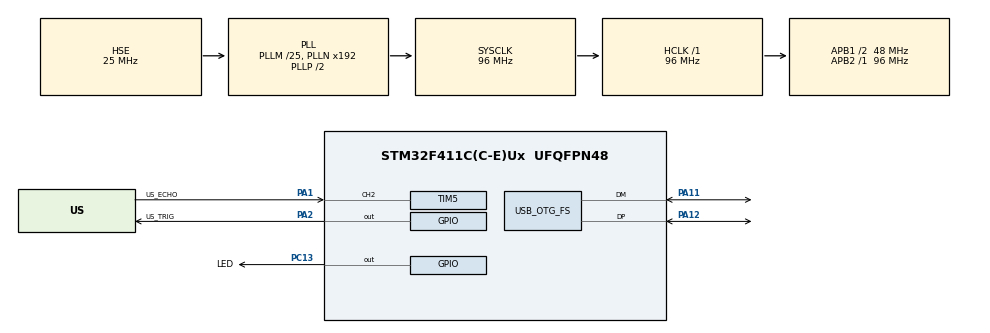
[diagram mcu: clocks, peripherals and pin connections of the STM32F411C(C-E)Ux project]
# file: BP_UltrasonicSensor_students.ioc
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Dma.Request0=TIM5_CH2
Dma.TIM5_CH2.0.Direction=DMA_PERIPH_TO_MEMORY
Dma.TIM5_CH2.0.FIFOMode=DMA_FIFOMODE_DISABLE
Dma.TIM5_CH2.0.Instance=DMA1_Stream4
Dma.TIM5_CH2.0.MemDataAlignment=DMA_MDATAALIGN_WORD
Dma.TIM5_CH2.0.MemInc=DMA_MINC_ENABLE
Dma.TIM5_CH2.0.Mode=DMA_NORMAL
Dma.TIM5_CH2.0.PeriphDataAlignment=DMA_PDATAALIGN_WORD
Dma.TIM5_CH2.0.PeriphInc=DMA_PINC_DISABLE
Dma.TIM5_CH2.0.Priority=DMA_PRIORITY_LOW
Mcu.Family=STM32F4
Mcu.Name=STM32F411C(C-E)Ux
Mcu.Package=UFQFPN48
Mcu.UserConstants=PSC_5,96-1;ARR_1,500-1;PSC_11,96-1;PSC_4,1-1;ARR_11,1000-1;ARR_4,9600-1;PSC_1,96-1;PSC_2,96-1
NVIC.DMA1_Stream4_IRQn=true\:0\:0\:false\:false\:true\:false\:true\:true
NVIC.OTG_FS_IRQn=true\:0\:0\:false\:false\:true\:false\:true\:true
NVIC.PriorityGroup=NVIC_PRIORITYGROUP_4
NVIC.TIM1_TRG_COM_TIM11_IRQn=true\:0\:0\:false\:false\:true\:true\:true\:true
NVIC.TIM1_UP_TIM10_IRQn=true\:0\:0\:false\:false\:true\:true\:true\:true
NVIC.TIM5_IRQn=true\:0\:0\:false\:false\:true\:true\:true\:true
PA1.GPIO_Label=US_ECHO
PA1.Signal=S_TIM5_CH2
PA11.Mode=Device_Only
PA11.Signal=USB_OTG_FS_DM
PA12.Mode=Device_Only
PA12.Signal=USB_OTG_FS_DP
PA2.GPIO_Label=US_TRIG
PA2.Signal=GPIO_Output
PC13-ANTI_TAMP.GPIO_Label=LED
PC13-ANTI_TAMP.PinState=GPIO_PIN_SET
PC13-ANTI_TAMP.Signal=GPIO_Output
PH0\ -\ OSC_IN.Mode=HSE-External-Oscillator
PH0\ -\ OSC_IN.Signal=RCC_OSC_IN
PH1\ -\ OSC_OUT.Mode=HSE-External-Oscillator
PH1\ -\ OSC_OUT.Signal=RCC_OSC_OUT
ProjectManager.HeapSize=0x200
ProjectManager.StackSize=0x400
ProjectManager.TargetToolchain=STM32CubeIDE
RCC.48MHZClocksFreq_Value=48000000
RCC.AHBFreq_Value=96000000
RCC.APB1CLKDivider=RCC_HCLK_DIV2
RCC.APB1Freq_Value=48000000
RCC.APB1TimFreq_Value=96000000
RCC.APB2Freq_Value=96000000
RCC.APB2TimFreq_Value=96000000
RCC.CortexFreq_Value=96000000
RCC.HCLKFreq_Value=96000000
RCC.HSE_VALUE=25000000
RCC.HSI_VALUE=16000000
RCC.LSE_VALUE=32768
RCC.PLLM=25
RCC.SYSCLKFreq_VALUE=96000000
RCC.SYSCLKSource=RCC_SYSCLKSOURCE_PLLCLK
RCC.VCOOutputFreq_Value=192000000
SH.S_TIM5_CH2.0=TIM5_CH2,Input_Capture2_from_TI2
TIM1.Period=ARR_1
TIM1.Prescaler=PSC_1
TIM11.Period=ARR_11
TIM11.Prescaler=PSC_11
TIM2.Prescaler=PSC_2
TIM5.Channel-Input_Capture2_from_TI2=TIM_CHANNEL_2
TIM5.ICPolarity_CH2=TIM_INPUTCHANNELPOLARITY_BOTHEDGE
TIM5.Prescaler=PSC_5
USB_DEVICE.CLASS_NAME_FS=CDC
USB_DEVICE.VirtualMode=Cdc
USB_DEVICE.VirtualModeFS=Cdc_FS
USB_OTG_FS.VirtualMode=Device_Only
VP_TIM11_VS_ClockSourceINT.Mode=Enable_Timer
VP_TIM1_VS_ClockSourceINT.Mode=Internal
VP_TIM2_VS_ClockSourceINT.Mode=Internal
VP_TIM5_VS_ClockSourceINT.Mode=Internal
VP_USB_DEVICE_VS_USB_DEVICE_CDC_FS.Mode=CDC_FS
board=custom

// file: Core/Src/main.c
/* USER CODE BEGIN Header */
/**
  ******************************************************************************
  * @file           : main.c
  * @brief          : Main program body
  ******************************************************************************
  * @attention
  *
  * Copyright (c) 2025 STMicroelectronics.
  * All rights reserved.
  *
  * This software is licensed under terms that can be found in the LICENSE file
  * in the root directory of this software component.
  * If no LICENSE file comes with this software, it is provided AS-IS.
  *
  ******************************************************************************
  */
/* USER CODE END Header */
#include "main.h"
#include "dma.h"
#include "tim.h"
#include "usb_device.h"
#include "gpio.h"

/* USER CODE BEGIN Includes */
#include "usbd_cdc_if.h"
#include <string.h>
#include <stdio.h>

#include "ultrasonic_sensor.h"
/* USER CODE END Includes */

/* USER CODE BEGIN PD */
#define USB_RX_BUFFER_SIZE 256
/* USER CODE END PD */

/* USER CODE BEGIN PV */
//Timer loop
volatile uint16_t cpt_led_loop = 0;
volatile uint8_t led_loop = 0;

volatile uint16_t cpt_print_loop = 0;
volatile uint8_t print_loop = 0;

volatile uint16_t cpt_us_loop = 0;
volatile uint8_t us_loop = 0;

//USB
uint32_t usb_rx_len = 0;	//Size of received packet over USB
uint8_t usb_rx_buffer[USB_RX_BUFFER_SIZE];	//Buffer to store the received packet over USB

//Ultrasonic sensor
extern uint8_t us_data_ready;
extern uint32_t us_dma_buffer[2];
extern float us_dist;
extern uint32_t us_pulse_width;

/* USER CODE END PV */

void SystemClock_Config(void);
/* USER CODE BEGIN PFP */
void parse_usb_data();

/* USER CODE END PFP */

/* USER CODE BEGIN 0 */
int _write(int file, char *ptr, int len) {
    CDC_Transmit_FS((uint8_t*)ptr, len);
    return len;
}
/* USER CODE END 0 */

int main(void)
{

  /* MCU Configuration--------------------------------------------------------*/

  /* Reset of all peripherals, Initializes the Flash interface and the Systick. */
  HAL_Init();

  /* Configure the system clock */
  SystemClock_Config();

  /* Initialize all configured peripherals */
  MX_GPIO_Init();
  MX_DMA_Init();
  MX_USB_DEVICE_Init();
  MX_TIM11_Init();
  MX_TIM1_Init();
  MX_TIM5_Init();
  MX_TIM2_Init();
  /* USER CODE BEGIN 2 */
  //Start Timers
  HAL_TIM_Base_Start_IT(&htim11);	//Start Timer with IT to call HAL_TIM_PeriodElapsedCallback function
  HAL_TIM_Base_Start(&htim2);	//Start Timer 2 to use the delay_us function

  //Make sure the US trigger pin is at LOW
  HAL_GPIO_WritePin(US_TRIG_GPIO_Port, US_TRIG_Pin, GPIO_PIN_RESET);

  //Start Input Capture for US
  HAL_TIM_IC_Start_DMA(&htim5, TIM_CHANNEL_2, us_dma_buffer, 2);
  /* USER CODE END 2 */

  /* Infinite loop */
  /* USER CODE BEGIN WHILE */
  while (1)
  {
	  if(print_loop){
//		  printf("Propagation time: %lu us\n", us_pulse_width);
		  printf("Dist: %.1f cm\n", us_dist);
		  print_loop = 0;
	  }

	  if(led_loop){
		  HAL_GPIO_TogglePin(LED_GPIO_Port, LED_Pin);
		  led_loop = 0;
	  }

	  if(us_loop){
		  us_enable_trigger();
		  us_loop = 0;
	  }

	  if(us_data_ready){
		  us_compute_distance();
		  HAL_TIM_IC_Start_DMA(&htim5, TIM_CHANNEL_2, us_dma_buffer, 2);	//Restart input-capture
		  us_data_ready = 0;
	  }
    /* USER CODE END WHILE */

  }
}

void SystemClock_Config(void)
{
  RCC_OscInitTypeDef RCC_OscInitStruct = {0};
  RCC_ClkInitTypeDef RCC_ClkInitStruct = {0};

  /** Configure the main internal regulator output voltage
  */
  __HAL_RCC_PWR_CLK_ENABLE();
  __HAL_PWR_VOLTAGESCALING_CONFIG(PWR_REGULATOR_VOLTAGE_SCALE1);

  /** Initializes the RCC Oscillators according to the specified parameters
  * in the RCC_OscInitTypeDef structure.
  */
  RCC_OscInitStruct.OscillatorType = RCC_OSCILLATORTYPE_HSE;
  RCC_OscInitStruct.HSEState = RCC_HSE_ON;
  RCC_OscInitStruct.PLL.PLLState = RCC_PLL_ON;
  RCC_OscInitStruct.PLL.PLLSource = RCC_PLLSOURCE_HSE;
  RCC_OscInitStruct.PLL.PLLM = 25;
  RCC_OscInitStruct.PLL.PLLN = 192;
  RCC_OscInitStruct.PLL.PLLP = RCC_PLLP_DIV2;
  RCC_OscInitStruct.PLL.PLLQ = 4;
  if (HAL_RCC_OscConfig(&RCC_OscInitStruct) != HAL_OK)
  {
    Error_Handler();
  }

  /** Initializes the CPU, AHB and APB buses clocks
  */
  RCC_ClkInitStruct.ClockType = RCC_CLOCKTYPE_HCLK|RCC_CLOCKTYPE_SYSCLK
                              |RCC_CLOCKTYPE_PCLK1|RCC_CLOCKTYPE_PCLK2;
  RCC_ClkInitStruct.SYSCLKSource = RCC_SYSCLKSOURCE_PLLCLK;
  RCC_ClkInitStruct.AHBCLKDivider = RCC_SYSCLK_DIV1;
  RCC_ClkInitStruct.APB1CLKDivider = RCC_HCLK_DIV2;
  RCC_ClkInitStruct.APB2CLKDivider = RCC_HCLK_DIV1;

  if (HAL_RCC_ClockConfig(&RCC_ClkInitStruct, FLASH_LATENCY_3) != HAL_OK)
  {
    Error_Handler();
  }
}

/* USER CODE BEGIN 4 */
/**
 * @brief This function is called automatically when a Timer overflows (period elapsed)
 * @param htim: Pointer to the Timer handler that identifies which Timer triggered the callback
 */
void HAL_TIM_PeriodElapsedCallback(TIM_HandleTypeDef *htim){
	if(htim->Instance == TIM11){	//If Timer 11 triggered the interrupt (@1kHz)
		cpt_led_loop++;
		cpt_print_loop++;
		cpt_us_loop++;

		if(cpt_led_loop >= 500){	//LED blink @2Hz
			led_loop = 1;
			cpt_led_loop = 0;
		}

		if(cpt_print_loop >= 100){	//Print loop @10Hz
			print_loop = 1;
			cpt_print_loop = 0;
		}

		if(cpt_us_loop >= 50){	//US loop @20Hz
			us_loop = 1;
			cpt_us_loop = 0;
		}
	}
}

/**
 * @brief This function is automatically called when the DMA finishes to store both rising and falling for TIM5_CH2 in input capture mode
 * @note Make sure to set the polarity selection (On CubeMX) to "Both Edges" and enable DMA in Normal mode
 * @param htim: Pointer to the Timer handler that identifies which Timer triggered the callback
 *
 */
void HAL_TIM_IC_CaptureCallback(TIM_HandleTypeDef *htim){
	if(htim->Instance == TIM5){
		if(htim->Channel == HAL_TIM_ACTIVE_CHANNEL_2)	//If TIM5_CH2 triggered this callback function
			us_data_ready = 1;
	}
}

/**
 * @brief This function stops the program for a specific number of microseconds
 * @param us_duration: Number of microseconds the program should be blocked
 */
void delay_us(uint32_t us_duration){
	__HAL_TIM_SET_COUNTER(&htim2, 0);	//reset the counter of TIM2
	uint32_t start = __HAL_TIM_GET_COUNTER(&htim2);
	while((__HAL_TIM_GET_COUNTER(&htim2) - start) < us_duration);
}
/* USER CODE END 4 */

void Error_Handler(void)
{
  __disable_irq();
  while (1)
  {
  }
}
